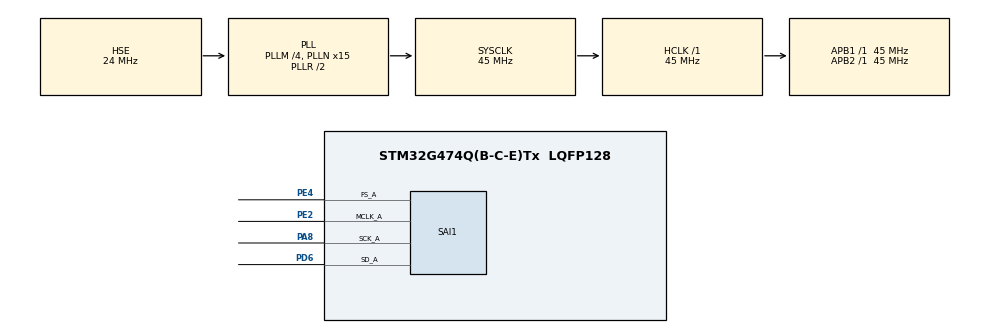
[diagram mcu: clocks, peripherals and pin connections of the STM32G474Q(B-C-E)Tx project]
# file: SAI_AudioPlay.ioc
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Dma.Request0=SAI1_A
Dma.SAI1_A.0.Direction=DMA_MEMORY_TO_PERIPH
Dma.SAI1_A.0.EventEnable=DISABLE
Dma.SAI1_A.0.Instance=DMA1_Channel1
Dma.SAI1_A.0.MemDataAlignment=DMA_MDATAALIGN_HALFWORD
Dma.SAI1_A.0.MemInc=DMA_MINC_ENABLE
Dma.SAI1_A.0.Mode=DMA_CIRCULAR
Dma.SAI1_A.0.PeriphDataAlignment=DMA_PDATAALIGN_HALFWORD
Dma.SAI1_A.0.PeriphInc=DMA_PINC_DISABLE
Dma.SAI1_A.0.Polarity=HAL_DMAMUX_REQ_GEN_RISING
Dma.SAI1_A.0.Priority=DMA_PRIORITY_HIGH
Dma.SAI1_A.0.RequestNumber=1
Dma.SAI1_A.0.SignalID=NONE
Dma.SAI1_A.0.SyncEnable=DISABLE
Dma.SAI1_A.0.SyncPolarity=HAL_DMAMUX_SYNC_NO_EVENT
Dma.SAI1_A.0.SyncRequestNumber=1
Dma.SAI1_A.0.SyncSignalID=NONE
Mcu.Family=STM32G4
Mcu.Name=STM32G474Q(B-C-E)Tx
Mcu.Package=LQFP128
NVIC.DMA1_Channel1_IRQn=true\:0\:0\:false\:false\:true\:false\:true
NVIC.PriorityGroup=NVIC_PRIORITYGROUP_4
PA8.GPIO_Speed=GPIO_SPEED_FREQ_VERY_HIGH
PA8.Mode=SAI_A_MasterWithClock
PA8.Signal=SAI1_SCK_A
PD6.GPIO_Speed=GPIO_SPEED_FREQ_VERY_HIGH
PD6.Mode=SAI_A_MasterWithClock
PD6.Signal=SAI1_SD_A
PE2.GPIO_Speed=GPIO_SPEED_FREQ_VERY_HIGH
PE2.Mode=SAI_A_MasterWithClock
PE2.Signal=SAI1_MCLK_A
PE4.GPIO_Speed=GPIO_SPEED_FREQ_VERY_HIGH
PE4.Mode=SAI_A_MasterWithClock
PE4.Signal=SAI1_FS_A
PF0-OSC_IN.Mode=HSE-External-Oscillator
PF0-OSC_IN.Signal=RCC_OSC_IN
PF1-OSC_OUT.Mode=HSE-External-Oscillator
PF1-OSC_OUT.Signal=RCC_OSC_OUT
ProjectManager.HeapSize=0x200
ProjectManager.StackSize=0x400
ProjectManager.TargetToolchain=EWARM V8.32
RCC.ADC12Freq_Value=45000000
RCC.ADC345Freq_Value=45000000
RCC.AHBFreq_Value=45000000
RCC.APB1Freq_Value=45000000
RCC.APB1TimFreq_Value=45000000
RCC.APB2Freq_Value=45000000
RCC.APB2TimFreq_Value=45000000
RCC.CortexFreq_Value=45000000
RCC.EXTERNAL_CLOCK_VALUE=12288000
RCC.HCLKFreq_Value=45000000
RCC.HSE_VALUE=24000000
RCC.HSI48_VALUE=48000000
RCC.HSI_VALUE=16000000
RCC.LSE_VALUE=32768
RCC.PLLM=RCC_PLLM_DIV4
RCC.PLLN=15
RCC.PLLQ=RCC_PLLQ_DIV8
RCC.PLLSourceVirtual=RCC_PLLSOURCE_HSE
RCC.SAI1CLockSelection=RCC_SAI1CLKSOURCE_PLL
RCC.SYSCLKFreq_VALUE=45000000
RCC.SYSCLKSource=RCC_SYSCLKSOURCE_PLLCLK
RCC.USBFreq_Value=11250000
RCC.VCOOutputFreq_Value=90000000
SAI1.ActiveFrameLength-SAI_A_MasterWithClock=16
SAI1.AudioFrequency-SAI_A_MasterWithClock=SAI_AUDIO_FREQUENCY_22K
SAI1.AudioMode-SAI_A_MasterWithClock=SAI_MODEMASTER_TX
SAI1.ClockStrobing-SAI_A_MasterWithClock=SAI_CLOCKSTROBING_FALLINGEDGE
SAI1.CompandingMode-SAI_A_MasterWithClock=SAI_NOCOMPANDING
SAI1.DataSize-SAI_A_MasterWithClock=SAI_DATASIZE_16
SAI1.ErrorAudioFreq-SAI_A_MasterWithClock=-0.12 %
SAI1.FIFOThreshold-SAI_A_MasterWithClock=SAI_FIFOTHRESHOLD_1QF
SAI1.FSDefinition-SAI_A_MasterWithClock=SAI_FS_CHANNEL_IDENTIFICATION
SAI1.FSOffset-SAI_A_MasterWithClock=SAI_FS_BEFOREFIRSTBIT
SAI1.FSPolarity-SAI_A_MasterWithClock=SAI_FS_ACTIVE_LOW
SAI1.FirstBit-SAI_A_MasterWithClock=SAI_FIRSTBIT_MSB
SAI1.FirstBitOffset-SAI_A_MasterWithClock=0
SAI1.FrameLength-SAI_A_MasterWithClock=32
SAI1.Instance-SAI_A_MasterWithClock=SAI$Index_Block_A
SAI1.MckOutput-SAI_A_MasterWithClock=SAI_MCK_OUTPUT_ENABLE
SAI1.MonoStereoMode-SAI_A_MasterWithClock=SAI_STEREOMODE
SAI1.NoDivider-SAI_A_MasterWithClock=SAI_MASTERDIVIDER_ENABLE
SAI1.OutputDrive-SAI_A_MasterWithClock=SAI_OUTPUTDRIVE_ENABLE
SAI1.Protocol-SAI_A_MasterWithClock=SAI_FREE_PROTOCOL
SAI1.RealAudioFreq-SAI_A_MasterWithClock=21.972 KHz
SAI1.SlotActive-SAI_A_MasterWithClock=0x00000003
SAI1.SlotNumber-SAI_A_MasterWithClock=2
SAI1.SlotSize-SAI_A_MasterWithClock=SAI_SLOTSIZE_DATASIZE
SAI1.Synchro_A=SAI_ASYNCHRONOUS
SAI1.TriState-SAI_A_MasterWithClock=SAI_OUTPUT_NOTRELEASED
SAI1.VirtualMode-SAI_A_MasterWithClock=VM_MASTER
SAI1.VirtualSlotActive-SAI_A_MasterWithClock=SAI_SLOT_USERSETTING
SAI1.VirtualSlotActive0-SAI_A_MasterWithClock=true
SAI1.VirtualSlotActive1-SAI_A_MasterWithClock=true
VP_SYS_VS_DBSignals.Mode=DisableDeadBatterySignals
board=custom

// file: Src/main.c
/* USER CODE BEGIN Header */
/**
  ******************************************************************************
  * @file    SAI/SAI_AudioPlay/Src/stm32g4xx_main.c
  * @author  MCD Application Team
  * @brief   This sample code shows how to use SAI HAL API (SAI instance)
  *          to play an audio file using the DMA circular mode and a
  *          continuous buffer update.
  ******************************************************************************
  * @attention
  *
  * Copyright (c) 2019 STMicroelectronics.
  * All rights reserved.
  *
  * This software is licensed under terms that can be found in the LICENSE file
  * in the root directory of this software component.
  * If no LICENSE file comes with this software, it is provided AS-IS.
  *
  ******************************************************************************
  */
/* USER CODE END Header */
#include "main.h"

/* USER CODE BEGIN Includes */
#include "stm32g474e_eval.h"
#include "stm32g474e_eval_bus.h"
#include "audio.h"
#include "../Components/wm8994/wm8994.h"
/* USER CODE END Includes */

/* USER CODE BEGIN PD */
#define AUDIO_I2C_ADDRESS    0x34U
#define AUDIO_FREQUENCY_22K 22050U  /* Audio sample rate */
/* USER CODE END PD */

SAI_HandleTypeDef hsai_BlockA1;
DMA_HandleTypeDef hdma_sai1_a;

/* USER CODE BEGIN PV */
#define AUDIO_FILE_ADDRESS   0x08040000
#define AUDIO_FILE_SIZE      (180*1024)
#define PLAY_HEADER          0x2C
#define PLAY_BUFF_SIZE       4096

static void *comp_out_obj= {0};
AUDIO_Drv_t *audio_drv;
WM8994_IO_t IOCtx;
uint32_t wm8994_id;
static WM8994_Object_t WM8994Obj;
WM8994_Init_t codec_init;
uint16_t PlayBuff[PLAY_BUFF_SIZE];
__IO int16_t UpdatePointer = -1;
/* USER CODE END PV */

void SystemClock_Config(void);
static void MX_GPIO_Init(void);
static void MX_DMA_Init(void);
static void MX_SAI1_Init(void);

int main(void)
{
  /* USER CODE BEGIN 1 */
  uint32_t PlaybackPosition = PLAY_BUFF_SIZE + PLAY_HEADER;

  /* STM32G4xx HAL library initialization:
       - Configure the Flash prefetch
       - Systick timer is configured by default as source of time base, but user
         can eventually implement his proper time base source (a general purpose
         timer for example or other time source), keeping in mind that Time base
         duration should be kept 1ms since PPP_TIMEOUT_VALUEs are defined and
         handled in milliseconds basis.
       - Set NVIC Group Priority to 4
       - Low Level Initialization
     */
  /* USER CODE END 1 */

  /* MCU Configuration--------------------------------------------------------*/

  /* Reset of all peripherals, Initializes the Flash interface and the Systick. */
  HAL_Init();

  /* Configure the system clock */
  SystemClock_Config();

  /* USER CODE BEGIN SysInit */

  /* Configure LED1 */
  BSP_LED_Init(LED1);

  /* Configure LED3 */
  BSP_LED_Init(LED3);

  /* USER CODE END SysInit */

  /* Initialize all configured peripherals */
  MX_GPIO_Init();
  MX_DMA_Init();
  MX_SAI1_Init();
  /* USER CODE BEGIN 2 */
  /* Configure the audio driver */
  IOCtx.Address     = AUDIO_I2C_ADDRESS;
  IOCtx.Init        = BSP_I2C3_Init;
  IOCtx.DeInit      = BSP_I2C3_DeInit;
  IOCtx.ReadReg     = BSP_I2C3_ReadReg16;
  IOCtx.WriteReg    = BSP_I2C3_WriteReg16;
  IOCtx.GetTick     = BSP_GetTick;
  if (WM8994_RegisterBusIO(&WM8994Obj, &IOCtx) != WM8994_OK)
  {
    Error_Handler();
  }
  else
  {
    if(WM8994_ReadID(&WM8994Obj, &wm8994_id) != WM8994_OK)
    {
      Error_Handler();
    }
    else if ((wm8994_id & 0xFFFFU) != WM8994_ID)
    {
      Error_Handler();
    }
    /* Reset the Codec Registers */
    else if (WM8994_Reset(&WM8994Obj) != WM8994_OK)
    {
      Error_Handler();
    }
  }

  audio_drv               = (AUDIO_Drv_t *)&WM8994_Driver;
  comp_out_obj            = &WM8994Obj;
  codec_init.Resolution   = WM8994_RESOLUTION_16b;
  codec_init.Frequency    = AUDIO_FREQUENCY_22K;
  codec_init.InputDevice  = WM8994_IN_NONE;
  codec_init.OutputDevice = WM8994_OUT_HEADPHONE;
  codec_init.Volume       = 30;
  if(0 != audio_drv->Init(comp_out_obj, &codec_init))
  {
    Error_Handler();
  }

  /* Check if the buffer has been loaded in flash */
  if(*((uint64_t *)AUDIO_FILE_ADDRESS) != 0x017EFE2446464952 ) Error_Handler();

  /* Initialize the data buffer */
  for(int i=0; i < PLAY_BUFF_SIZE; i+=2)
  {
    PlayBuff[i]=*((__IO uint16_t *)(AUDIO_FILE_ADDRESS + PLAY_HEADER + i));
  }

  /* Start the playback */
  if(0 != audio_drv->Play(&WM8994Obj))
  {
    Error_Handler();
  }

  if(HAL_OK != HAL_SAI_Transmit_DMA(&hsai_BlockA1, (uint8_t *)PlayBuff, PLAY_BUFF_SIZE))
  {
    Error_Handler();
  }
  /* USER CODE END 2 */

  /* Infinite loop */
  /* USER CODE BEGIN WHILE */
  while (1)
  {
    BSP_LED_Toggle(LED1);

    /* Wait a callback event */
    while(UpdatePointer==-1);

    int position = UpdatePointer;
    UpdatePointer = -1;

    /* Update the first or the second part of the buffer */
    for(int i = 0; i < PLAY_BUFF_SIZE/2; i++)
    {
      PlayBuff[i+position] = *(uint16_t *)(AUDIO_FILE_ADDRESS + PlaybackPosition);
      PlaybackPosition+=2;
    }

    /* check the end of the file */
    if((PlaybackPosition+PLAY_BUFF_SIZE/2) > AUDIO_FILE_SIZE)
    {
      PlaybackPosition = PLAY_HEADER;
    }

    if(UpdatePointer != -1)
    {
      /* Buffer update time is too long compare to the data transfer time */
      Error_Handler();
    }
    /* USER CODE END WHILE */

  }
}

void SystemClock_Config(void)
{
  RCC_OscInitTypeDef RCC_OscInitStruct = {0};
  RCC_ClkInitTypeDef RCC_ClkInitStruct = {0};

  /** Configure the main internal regulator output voltage
  */
  HAL_PWREx_ControlVoltageScaling(PWR_REGULATOR_VOLTAGE_SCALE1);

  /** Initializes the RCC Oscillators according to the specified parameters
  * in the RCC_OscInitTypeDef structure.
  */
  RCC_OscInitStruct.OscillatorType = RCC_OSCILLATORTYPE_HSE;
  RCC_OscInitStruct.HSEState = RCC_HSE_ON;
  RCC_OscInitStruct.PLL.PLLState = RCC_PLL_ON;
  RCC_OscInitStruct.PLL.PLLSource = RCC_PLLSOURCE_HSE;
  RCC_OscInitStruct.PLL.PLLM = RCC_PLLM_DIV4;
  RCC_OscInitStruct.PLL.PLLN = 15;
  RCC_OscInitStruct.PLL.PLLP = RCC_PLLP_DIV2;
  RCC_OscInitStruct.PLL.PLLQ = RCC_PLLQ_DIV8;
  RCC_OscInitStruct.PLL.PLLR = RCC_PLLR_DIV2;
  if (HAL_RCC_OscConfig(&RCC_OscInitStruct) != HAL_OK)
  {
    Error_Handler();
  }

  /** Initializes the CPU, AHB and APB buses clocks
  */
  RCC_ClkInitStruct.ClockType = RCC_CLOCKTYPE_HCLK|RCC_CLOCKTYPE_SYSCLK
                              |RCC_CLOCKTYPE_PCLK1|RCC_CLOCKTYPE_PCLK2;
  RCC_ClkInitStruct.SYSCLKSource = RCC_SYSCLKSOURCE_PLLCLK;
  RCC_ClkInitStruct.AHBCLKDivider = RCC_SYSCLK_DIV1;
  RCC_ClkInitStruct.APB1CLKDivider = RCC_HCLK_DIV1;
  RCC_ClkInitStruct.APB2CLKDivider = RCC_HCLK_DIV1;

  if (HAL_RCC_ClockConfig(&RCC_ClkInitStruct, FLASH_LATENCY_1) != HAL_OK)
  {
    Error_Handler();
  }
}

static void MX_SAI1_Init(void)
{

  hsai_BlockA1.Instance = SAI1_Block_A;
  hsai_BlockA1.Init.Protocol = SAI_FREE_PROTOCOL;
  hsai_BlockA1.Init.AudioMode = SAI_MODEMASTER_TX;
  hsai_BlockA1.Init.DataSize = SAI_DATASIZE_16;
  hsai_BlockA1.Init.FirstBit = SAI_FIRSTBIT_MSB;
  hsai_BlockA1.Init.ClockStrobing = SAI_CLOCKSTROBING_FALLINGEDGE;
  hsai_BlockA1.Init.Synchro = SAI_ASYNCHRONOUS;
  hsai_BlockA1.Init.OutputDrive = SAI_OUTPUTDRIVE_ENABLE;
  hsai_BlockA1.Init.NoDivider = SAI_MASTERDIVIDER_ENABLE;
  hsai_BlockA1.Init.MckOverSampling = SAI_MCK_OVERSAMPLING_DISABLE;
  hsai_BlockA1.Init.FIFOThreshold = SAI_FIFOTHRESHOLD_1QF;
  hsai_BlockA1.Init.AudioFrequency = SAI_AUDIO_FREQUENCY_22K;
  hsai_BlockA1.Init.MckOutput = SAI_MCK_OUTPUT_ENABLE;
  hsai_BlockA1.Init.SynchroExt = SAI_SYNCEXT_DISABLE;
  hsai_BlockA1.Init.MonoStereoMode = SAI_STEREOMODE;
  hsai_BlockA1.Init.CompandingMode = SAI_NOCOMPANDING;
  hsai_BlockA1.Init.TriState = SAI_OUTPUT_NOTRELEASED;
  hsai_BlockA1.Init.PdmInit.Activation = DISABLE;
  hsai_BlockA1.Init.PdmInit.MicPairsNbr = 0;
  hsai_BlockA1.Init.PdmInit.ClockEnable = SAI_PDM_CLOCK1_ENABLE;
  hsai_BlockA1.FrameInit.FrameLength = 32;
  hsai_BlockA1.FrameInit.ActiveFrameLength = 16;
  hsai_BlockA1.FrameInit.FSDefinition = SAI_FS_CHANNEL_IDENTIFICATION;
  hsai_BlockA1.FrameInit.FSPolarity = SAI_FS_ACTIVE_LOW;
  hsai_BlockA1.FrameInit.FSOffset = SAI_FS_BEFOREFIRSTBIT;
  hsai_BlockA1.SlotInit.FirstBitOffset = 0;
  hsai_BlockA1.SlotInit.SlotSize = SAI_SLOTSIZE_DATASIZE;
  hsai_BlockA1.SlotInit.SlotNumber = 2;
  hsai_BlockA1.SlotInit.SlotActive = 0x00000003;
  if (HAL_SAI_Init(&hsai_BlockA1) != HAL_OK)
  {
    Error_Handler();
  }

}

static void MX_DMA_Init(void)
{

  /* DMA controller clock enable */
  __HAL_RCC_DMAMUX1_CLK_ENABLE();
  __HAL_RCC_DMA1_CLK_ENABLE();

  /* DMA interrupt init */
  /* DMA1_Channel1_IRQn interrupt configuration */
  HAL_NVIC_SetPriority(DMA1_Channel1_IRQn, 0, 0);
  HAL_NVIC_EnableIRQ(DMA1_Channel1_IRQn);

}

static void MX_GPIO_Init(void)
{

  /* GPIO Ports Clock Enable */
  __HAL_RCC_GPIOE_CLK_ENABLE();
  __HAL_RCC_GPIOF_CLK_ENABLE();
  __HAL_RCC_GPIOA_CLK_ENABLE();
  __HAL_RCC_GPIOD_CLK_ENABLE();

}

/* USER CODE BEGIN 4 */
/**
  * @brief Tx Transfer completed callbacks.
  * @param  hsai : pointer to a SAI_HandleTypeDef structure that contains
  *                the configuration information for SAI module.
  * @retval None
  */
void HAL_SAI_TxCpltCallback(SAI_HandleTypeDef *hsai)
{
  /* NOTE : This function Should not be modified, when the callback is needed,
            the HAL_SAI_TxCpltCallback could be implemented in the user file
   */
  UpdatePointer = PLAY_BUFF_SIZE/2;
}

/**
  * @brief Tx Transfer Half completed callbacks
  * @param  hsai : pointer to a SAI_HandleTypeDef structure that contains
  *                the configuration information for SAI module.
  * @retval None
  */
void HAL_SAI_TxHalfCpltCallback(SAI_HandleTypeDef *hsai)
{
  /* NOTE : This function Should not be modified, when the callback is needed,
            the HAL_SAI_TxHalfCpltCallback could be implenetd in the user file
   */
  UpdatePointer = 0;
}

/* USER CODE END 4 */

void Error_Handler(void)
{
  /* USER CODE BEGIN Error_Handler_Debug */
  /* User can add his own implementation to report the HAL error return state */
  /* LED3 On in error case */
  BSP_LED_On(LED3);
  while(1)
  {
  }

  /* USER CODE END Error_Handler_Debug */
}
